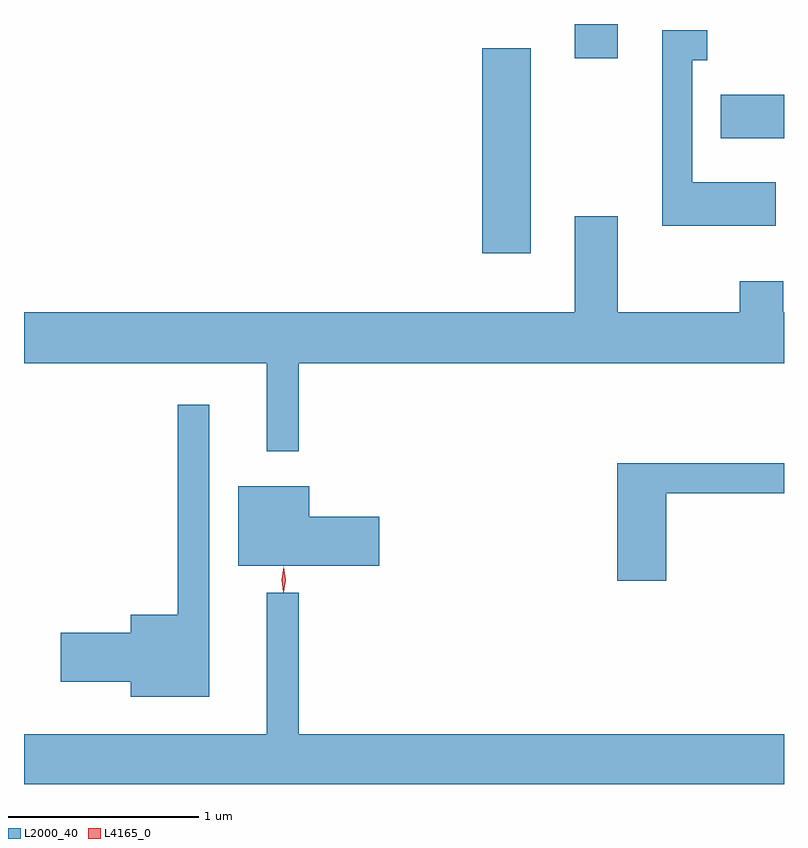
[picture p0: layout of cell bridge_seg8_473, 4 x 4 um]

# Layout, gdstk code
import gdstk
lib = gdstk.Library(unit=1e-6, precision=1e-09)
def R(c, l, rs):  # rectangles x0, y0, x1, y1
    for r in rs: c.add(gdstk.rectangle(r[:2], r[2:], *l))
def P(c, l, *ps):  # polygons
    for p in ps: c.add(gdstk.Polygon(p, *l))
L2000_40 = (2000, 40)
L4165_0 = (4165, 0)

bridge_seg8_473 = lib.new_cell('bridge_seg8_473')
R(bridge_seg8_473, L2000_40, [(458.386,1890.276,458.639,1891.354), (459.641,1890.881,459.973,1891.109), (458.871,1891.301,459.099,1891.482)])
P(bridge_seg8_473, L2000_40, [(459.929,1890.649),(459.489,1890.649),(459.489,1891.291),(459.568,1891.291),(459.568,1891.449),(459.331,1891.449),(459.331,1890.421),(459.929,1890.421)],
  [(457.419,1889.696),(459.973,1889.696),(459.973,1889.964),(459.969,1889.964),(459.969,1890.129),(459.741,1890.129),(459.741,1889.964),(459.099,1889.964),(459.099,1890.469),(458.871,1890.469),(458.871,1889.964),(455.973,1889.964),(455.973,1889.696),(457.251,1889.696),(457.251,1889.233),(457.419,1889.233)],
  [(456.949,1889.478),(456.781,1889.478),(456.781,1888.374),(456.536,1888.374),(456.536,1888.279),(456.166,1888.279),(456.166,1888.021),(456.536,1888.021),(456.536,1887.941),(456.949,1887.941)],
  [(459.354,1889.011),(459.973,1889.011),(459.973,1889.169),(459.096,1889.169),(459.096,1888.551),(459.354,1888.551)],
  [(457.844,1888.889),(457.474,1888.889),(457.474,1889.049),(457.101,1889.049),(457.101,1888.631),(457.844,1888.631)],
  [(457.251,1888.488),(457.251,1887.744),(455.973,1887.744),(455.973,1887.482),(459.973,1887.482),(459.973,1887.744),(457.419,1887.744),(457.419,1888.488)])
P(bridge_seg8_473, L4165_0, [(457.339,1888.493),(457.339,1888.493),(457.329,1888.556),(457.339,1888.619),(457.339,1888.62),(457.34,1888.619),(457.35,1888.556),(457.34,1888.493)],
  [(457.338,1888.49),(457.33,1888.558),(457.34,1888.626),(457.341,1888.626),(457.341,1888.626),(457.35,1888.558),(457.339,1888.49),(457.339,1888.49)])

lib.write_gds('bridge_seg8_473.gds')
